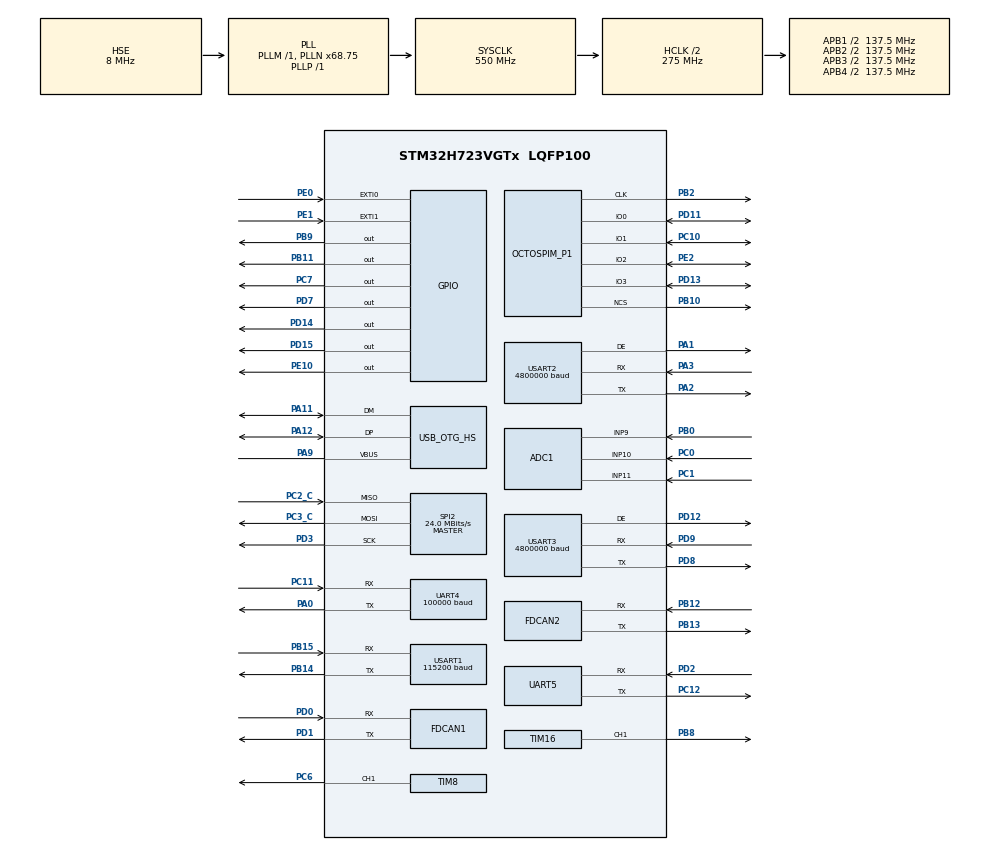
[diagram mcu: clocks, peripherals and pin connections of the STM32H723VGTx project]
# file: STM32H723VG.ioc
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ADC1.Channel-3\#ChannelRegularConversion=ADC_CHANNEL_9
ADC1.NbrOfConversionFlag=1
ADC1.OffsetNumber-3\#ChannelRegularConversion=ADC_OFFSET_NONE
ADC1.OffsetSignedSaturation-3\#ChannelRegularConversion=DISABLE
ADC1.Rank-3\#ChannelRegularConversion=1
ADC1.SamplingTime-3\#ChannelRegularConversion=ADC_SAMPLETIME_1CYCLE_5
ADC1.master=1
CORTEX_M7.AccessPermission-Cortex_Memory_Protection_Unit_Region0_Settings=MPU_REGION_FULL_ACCESS
CORTEX_M7.BaseAddress-Cortex_Memory_Protection_Unit_Region0_Settings=0x24000000
CORTEX_M7.CPU_DCache=Enabled
CORTEX_M7.CPU_ICache=Enabled
CORTEX_M7.Enable-Cortex_Memory_Protection_Unit_Region0_Settings=MPU_REGION_ENABLE
CORTEX_M7.IsBufferable-Cortex_Memory_Protection_Unit_Region0_Settings=MPU_ACCESS_BUFFERABLE
CORTEX_M7.IsCacheable-Cortex_Memory_Protection_Unit_Region0_Settings=MPU_ACCESS_CACHEABLE
CORTEX_M7.MPU_Control=MPU_PRIVILEGED_DEFAULT
CORTEX_M7.Size-Cortex_Memory_Protection_Unit_Region0_Settings=MPU_REGION_SIZE_256KB
CORTEX_M7.TypeExtField-Cortex_Memory_Protection_Unit_Region0_Settings=MPU_TEX_LEVEL1
CORTEX_M7.default_mode_Activation=0
Dma.Request0=USART1_RX
Dma.Request1=USART1_TX
Dma.Request2=USART2_RX
Dma.Request3=USART2_TX
Dma.Request4=UART4_RX
Dma.Request5=USART3_RX
Dma.Request6=USART3_TX
Dma.Request7=UART5_RX
Dma.Request8=UART5_TX
Dma.UART4_RX.4.Direction=DMA_PERIPH_TO_MEMORY
Dma.UART4_RX.4.EventEnable=DISABLE
Dma.UART4_RX.4.FIFOMode=DMA_FIFOMODE_DISABLE
Dma.UART4_RX.4.Instance=DMA1_Stream5
Dma.UART4_RX.4.MemDataAlignment=DMA_MDATAALIGN_BYTE
Dma.UART4_RX.4.MemInc=DMA_MINC_ENABLE
Dma.UART4_RX.4.Mode=DMA_NORMAL
Dma.UART4_RX.4.PeriphDataAlignment=DMA_PDATAALIGN_BYTE
Dma.UART4_RX.4.PeriphInc=DMA_PINC_DISABLE
Dma.UART4_RX.4.Polarity=HAL_DMAMUX_REQ_GEN_RISING
Dma.UART4_RX.4.Priority=DMA_PRIORITY_HIGH
Dma.UART4_RX.4.RequestNumber=1
Dma.UART4_RX.4.SignalID=NONE
Dma.UART4_RX.4.SyncEnable=DISABLE
Dma.UART4_RX.4.SyncPolarity=HAL_DMAMUX_SYNC_NO_EVENT
Dma.UART4_RX.4.SyncRequestNumber=1
Dma.UART4_RX.4.SyncSignalID=NONE
Dma.UART5_RX.7.Direction=DMA_PERIPH_TO_MEMORY
Dma.UART5_RX.7.EventEnable=DISABLE
Dma.UART5_RX.7.FIFOMode=DMA_FIFOMODE_DISABLE
Dma.UART5_RX.7.Instance=DMA2_Stream0
Dma.UART5_RX.7.MemDataAlignment=DMA_MDATAALIGN_BYTE
Dma.UART5_RX.7.MemInc=DMA_MINC_ENABLE
Dma.UART5_RX.7.Mode=DMA_NORMAL
Dma.UART5_RX.7.PeriphDataAlignment=DMA_PDATAALIGN_BYTE
Dma.UART5_RX.7.PeriphInc=DMA_PINC_DISABLE
Dma.UART5_RX.7.Polarity=HAL_DMAMUX_REQ_GEN_RISING
Dma.UART5_RX.7.Priority=DMA_PRIORITY_HIGH
Dma.UART5_RX.7.RequestNumber=1
Dma.UART5_RX.7.SignalID=NONE
Dma.UART5_RX.7.SyncEnable=DISABLE
Dma.UART5_RX.7.SyncPolarity=HAL_DMAMUX_SYNC_NO_EVENT
Dma.UART5_RX.7.SyncRequestNumber=1
Dma.UART5_RX.7.SyncSignalID=NONE
Dma.UART5_TX.8.Direction=DMA_MEMORY_TO_PERIPH
Dma.UART5_TX.8.EventEnable=DISABLE
Dma.UART5_TX.8.FIFOMode=DMA_FIFOMODE_DISABLE
Dma.UART5_TX.8.Instance=DMA2_Stream1
Dma.UART5_TX.8.MemDataAlignment=DMA_MDATAALIGN_BYTE
Dma.UART5_TX.8.MemInc=DMA_MINC_ENABLE
Dma.UART5_TX.8.Mode=DMA_NORMAL
Dma.UART5_TX.8.PeriphDataAlignment=DMA_PDATAALIGN_BYTE
Dma.UART5_TX.8.PeriphInc=DMA_PINC_DISABLE
Dma.UART5_TX.8.Polarity=HAL_DMAMUX_REQ_GEN_RISING
Dma.UART5_TX.8.Priority=DMA_PRIORITY_HIGH
Dma.UART5_TX.8.RequestNumber=1
Dma.UART5_TX.8.SignalID=NONE
Dma.UART5_TX.8.SyncEnable=DISABLE
Dma.UART5_TX.8.SyncPolarity=HAL_DMAMUX_SYNC_NO_EVENT
Dma.UART5_TX.8.SyncRequestNumber=1
Dma.UART5_TX.8.SyncSignalID=NONE
Dma.USART1_RX.0.Direction=DMA_PERIPH_TO_MEMORY
Dma.USART1_RX.0.EventEnable=DISABLE
Dma.USART1_RX.0.FIFOMode=DMA_FIFOMODE_DISABLE
Dma.USART1_RX.0.Instance=DMA1_Stream0
Dma.USART1_RX.0.MemDataAlignment=DMA_MDATAALIGN_BYTE
Dma.USART1_RX.0.MemInc=DMA_MINC_ENABLE
Dma.USART1_RX.0.Mode=DMA_NORMAL
Dma.USART1_RX.0.PeriphDataAlignment=DMA_PDATAALIGN_BYTE
Dma.USART1_RX.0.PeriphInc=DMA_PINC_DISABLE
Dma.USART1_RX.0.Polarity=HAL_DMAMUX_REQ_GEN_RISING
Dma.USART1_RX.0.Priority=DMA_PRIORITY_LOW
Dma.USART1_RX.0.RequestNumber=1
Dma.USART1_RX.0.SignalID=NONE
Dma.USART1_RX.0.SyncEnable=DISABLE
Dma.USART1_RX.0.SyncPolarity=HAL_DMAMUX_SYNC_NO_EVENT
Dma.USART1_RX.0.SyncRequestNumber=1
Dma.USART1_RX.0.SyncSignalID=NONE
Dma.USART1_TX.1.Direction=DMA_MEMORY_TO_PERIPH
Dma.USART1_TX.1.EventEnable=DISABLE
Dma.USART1_TX.1.FIFOMode=DMA_FIFOMODE_DISABLE
Dma.USART1_TX.1.Instance=DMA1_Stream2
Dma.USART1_TX.1.MemDataAlignment=DMA_MDATAALIGN_BYTE
Dma.USART1_TX.1.MemInc=DMA_MINC_ENABLE
Dma.USART1_TX.1.Mode=DMA_NORMAL
Dma.USART1_TX.1.PeriphDataAlignment=DMA_PDATAALIGN_BYTE
Dma.USART1_TX.1.PeriphInc=DMA_PINC_DISABLE
Dma.USART1_TX.1.Polarity=HAL_DMAMUX_REQ_GEN_RISING
Dma.USART1_TX.1.Priority=DMA_PRIORITY_LOW
Dma.USART1_TX.1.RequestNumber=1
Dma.USART1_TX.1.SignalID=NONE
Dma.USART1_TX.1.SyncEnable=DISABLE
Dma.USART1_TX.1.SyncPolarity=HAL_DMAMUX_SYNC_NO_EVENT
Dma.USART1_TX.1.SyncRequestNumber=1
Dma.USART1_TX.1.SyncSignalID=NONE
Dma.USART2_RX.2.Direction=DMA_PERIPH_TO_MEMORY
Dma.USART2_RX.2.EventEnable=DISABLE
Dma.USART2_RX.2.FIFOMode=DMA_FIFOMODE_DISABLE
Dma.USART2_RX.2.Instance=DMA1_Stream3
Dma.USART2_RX.2.MemDataAlignment=DMA_MDATAALIGN_BYTE
Dma.USART2_RX.2.MemInc=DMA_MINC_ENABLE
Dma.USART2_RX.2.Mode=DMA_NORMAL
Dma.USART2_RX.2.PeriphDataAlignment=DMA_PDATAALIGN_BYTE
Dma.USART2_RX.2.PeriphInc=DMA_PINC_DISABLE
Dma.USART2_RX.2.Polarity=HAL_DMAMUX_REQ_GEN_RISING
Dma.USART2_RX.2.Priority=DMA_PRIORITY_VERY_HIGH
Dma.USART2_RX.2.RequestNumber=1
Dma.USART2_RX.2.SignalID=NONE
Dma.USART2_RX.2.SyncEnable=DISABLE
Dma.USART2_RX.2.SyncPolarity=HAL_DMAMUX_SYNC_NO_EVENT
Dma.USART2_RX.2.SyncRequestNumber=1
Dma.USART2_RX.2.SyncSignalID=NONE
Dma.USART2_TX.3.Direction=DMA_MEMORY_TO_PERIPH
Dma.USART2_TX.3.EventEnable=DISABLE
Dma.USART2_TX.3.FIFOMode=DMA_FIFOMODE_DISABLE
Dma.USART2_TX.3.Instance=DMA1_Stream4
Dma.USART2_TX.3.MemDataAlignment=DMA_MDATAALIGN_BYTE
Dma.USART2_TX.3.MemInc=DMA_MINC_ENABLE
Dma.USART2_TX.3.Mode=DMA_NORMAL
Dma.USART2_TX.3.PeriphDataAlignment=DMA_PDATAALIGN_BYTE
Dma.USART2_TX.3.PeriphInc=DMA_PINC_DISABLE
Dma.USART2_TX.3.Polarity=HAL_DMAMUX_REQ_GEN_RISING
Dma.USART2_TX.3.Priority=DMA_PRIORITY_VERY_HIGH
Dma.USART2_TX.3.RequestNumber=1
Dma.USART2_TX.3.SignalID=NONE
Dma.USART2_TX.3.SyncEnable=DISABLE
Dma.USART2_TX.3.SyncPolarity=HAL_DMAMUX_SYNC_NO_EVENT
Dma.USART2_TX.3.SyncRequestNumber=1
Dma.USART2_TX.3.SyncSignalID=NONE
Dma.USART3_RX.5.Direction=DMA_PERIPH_TO_MEMORY
Dma.USART3_RX.5.EventEnable=DISABLE
Dma.USART3_RX.5.FIFOMode=DMA_FIFOMODE_DISABLE
Dma.USART3_RX.5.Instance=DMA1_Stream6
Dma.USART3_RX.5.MemDataAlignment=DMA_MDATAALIGN_BYTE
Dma.USART3_RX.5.MemInc=DMA_MINC_ENABLE
Dma.USART3_RX.5.Mode=DMA_NORMAL
Dma.USART3_RX.5.PeriphDataAlignment=DMA_PDATAALIGN_BYTE
Dma.USART3_RX.5.PeriphInc=DMA_PINC_DISABLE
Dma.USART3_RX.5.Polarity=HAL_DMAMUX_REQ_GEN_RISING
Dma.USART3_RX.5.Priority=DMA_PRIORITY_VERY_HIGH
Dma.USART3_RX.5.RequestNumber=1
Dma.USART3_RX.5.SignalID=NONE
Dma.USART3_RX.5.SyncEnable=DISABLE
Dma.USART3_RX.5.SyncPolarity=HAL_DMAMUX_SYNC_NO_EVENT
Dma.USART3_RX.5.SyncRequestNumber=1
Dma.USART3_RX.5.SyncSignalID=NONE
Dma.USART3_TX.6.Direction=DMA_MEMORY_TO_PERIPH
Dma.USART3_TX.6.EventEnable=DISABLE
Dma.USART3_TX.6.FIFOMode=DMA_FIFOMODE_DISABLE
Dma.USART3_TX.6.Instance=DMA1_Stream7
Dma.USART3_TX.6.MemDataAlignment=DMA_MDATAALIGN_BYTE
Dma.USART3_TX.6.MemInc=DMA_MINC_ENABLE
Dma.USART3_TX.6.Mode=DMA_NORMAL
Dma.USART3_TX.6.PeriphDataAlignment=DMA_PDATAALIGN_BYTE
Dma.USART3_TX.6.PeriphInc=DMA_PINC_DISABLE
Dma.USART3_TX.6.Polarity=HAL_DMAMUX_REQ_GEN_RISING
Dma.USART3_TX.6.Priority=DMA_PRIORITY_VERY_HIGH
Dma.USART3_TX.6.RequestNumber=1
Dma.USART3_TX.6.SignalID=NONE
Dma.USART3_TX.6.SyncEnable=DISABLE
Dma.USART3_TX.6.SyncPolarity=HAL_DMAMUX_SYNC_NO_EVENT
Dma.USART3_TX.6.SyncRequestNumber=1
Dma.USART3_TX.6.SyncSignalID=NONE
FDCAN1.CalculateBaudRateNominal=1000000
FDCAN1.CalculateTimeBitNominal=1000
FDCAN1.CalculateTimeQuantumNominal=71.42857142857143
FDCAN1.ClockCalibrationCCU=DISABLE
FDCAN1.NominalPrescaler=6
FDCAN1.NominalTimeSeg1=10
FDCAN1.NominalTimeSeg2=3
FDCAN1.RxFifo0ElmtsNbr=32
FDCAN1.TxFifoQueueElmtsNbr=16
FDCAN2.CalculateBaudRateNominal=1000000
FDCAN2.CalculateTimeBitNominal=1000
FDCAN2.CalculateTimeQuantumNominal=71.42857142857143
FDCAN2.NominalPrescaler=6
FDCAN2.NominalTimeSeg1=10
FDCAN2.NominalTimeSeg2=3
FDCAN2.RxFifo0ElmtsNbr=32
FDCAN2.TxFifoQueueElmtsNbr=16
FREERTOS.Tasks01=defaultTask,24,128,StartDefaultTask,Default,NULL,Dynamic,NULL,NULL;myTaskLED,24,128,StartTaskLED,As weak,NULL,Dynamic,NULL,NULL
FREERTOS.Timers01=testTimer,TestTimerCallback,osTimerPeriodic,As weak,NULL,Dynamic,NULL
FREERTOS.configENABLE_FPU=1
FREERTOS.configTOTAL_HEAP_SIZE=204800
FREERTOS.configUSE_IDLE_HOOK=1
FREERTOS.configUSE_TIMERS=1
Mcu.Family=STM32H7
Mcu.Name=STM32H723VGTx
Mcu.Package=LQFP100
NVIC.DMA1_Stream0_IRQn=true\:5\:0\:false\:false\:true\:true\:false\:true\:true
NVIC.DMA1_Stream2_IRQn=true\:5\:0\:false\:false\:true\:true\:false\:true\:true
NVIC.DMA1_Stream3_IRQn=true\:5\:0\:false\:false\:true\:true\:false\:true\:true
NVIC.DMA1_Stream4_IRQn=true\:5\:0\:false\:false\:true\:true\:false\:true\:true
NVIC.DMA1_Stream5_IRQn=true\:5\:0\:false\:false\:true\:true\:false\:true\:true
NVIC.DMA1_Stream6_IRQn=true\:5\:0\:false\:false\:true\:true\:false\:true\:true
NVIC.DMA1_Stream7_IRQn=true\:5\:0\:false\:false\:true\:true\:false\:true\:true
NVIC.DMA2_Stream0_IRQn=true\:5\:0\:false\:false\:true\:true\:false\:true\:true
NVIC.DMA2_Stream1_IRQn=true\:5\:0\:false\:false\:true\:true\:false\:true\:true
NVIC.FDCAN1_IT0_IRQn=true\:5\:0\:true\:false\:true\:true\:true\:true\:true
NVIC.FDCAN1_IT1_IRQn=true\:5\:0\:false\:false\:true\:true\:true\:true\:true
NVIC.FDCAN2_IT0_IRQn=true\:5\:0\:false\:false\:true\:true\:true\:true\:true
NVIC.FDCAN2_IT1_IRQn=true\:5\:0\:false\:false\:true\:true\:true\:true\:true
NVIC.OTG_HS_IRQn=true\:5\:0\:false\:false\:true\:true\:false\:true\:true
NVIC.PriorityGroup=NVIC_PRIORITYGROUP_4
NVIC.TIM1_BRK_IRQn=true\:5\:0\:false\:false\:true\:true\:true\:true\:true
NVIC.TIM1_CC_IRQn=true\:5\:0\:false\:false\:true\:true\:true\:true\:true
NVIC.TIM1_UP_IRQn=true\:5\:0\:false\:false\:true\:true\:true\:true\:true
NVIC.TIM2_IRQn=true\:5\:0\:false\:false\:true\:true\:true\:true\:true
NVIC.TIM3_IRQn=true\:5\:0\:false\:false\:true\:true\:true\:true\:true
NVIC.TIM6_DAC_IRQn=true\:15\:0\:false\:false\:true\:false\:false\:true\:true
NVIC.TimeBase=TIM6_DAC_IRQn
NVIC.TimeBaseIP=TIM6
NVIC.UART4_IRQn=true\:5\:0\:false\:false\:true\:true\:true\:true\:true
NVIC.UART5_IRQn=true\:5\:0\:false\:false\:true\:true\:true\:true\:true
NVIC.USART1_IRQn=true\:5\:0\:false\:false\:true\:true\:true\:true\:true
NVIC.USART2_IRQn=true\:5\:0\:false\:false\:true\:true\:true\:true\:true
NVIC.USART3_IRQn=true\:5\:0\:false\:false\:true\:true\:true\:true\:true
OCTOSPI1.ChipSelectBoundary=8
OCTOSPI1.ChipSelectHighTime=6
OCTOSPI1.ClockMode=HAL_OSPI_CLOCK_MODE_0
OCTOSPI1.ClockPrescaler=2
OCTOSPI1.FifoThreshold=24
OCTOSPI1.MemoryType=HAL_OSPI_MEMTYPE_MACRONIX
OCTOSPI1.SampleShifting=HAL_OSPI_SAMPLE_SHIFTING_HALFCYCLE
PA0.Mode=Asynchronous
PA0.Signal=UART4_TX
PA1.Mode=Hardware Flow Control (RS485)
PA1.Signal=USART2_DE
PA11.Mode=Device_Only_FS
PA11.Signal=USB_OTG_HS_DM
PA12.Mode=Device_Only_FS
PA12.Signal=USB_OTG_HS_DP
PA13(JTMS/SWDIO).Mode=Serial_Wire
PA13(JTMS/SWDIO).Signal=DEBUG_JTMS-SWDIO
PA14(JTCK/SWCLK).Mode=Serial_Wire
PA14(JTCK/SWCLK).Signal=DEBUG_JTCK-SWCLK
PA2.Mode=Asynchronous
PA2.Signal=USART2_TX
PA3.Mode=Asynchronous
PA3.Signal=USART2_RX
PA9.Mode=Activate_VBUS_FS
PA9.Signal=USB_OTG_HS_VBUS
PB0.Signal=ADCx_INP9
PB10.Mode=OCTOSPI1_Port1_NCS
PB10.Signal=OCTOSPIM_P1_NCS
PB11.Signal=GPIO_Output
PB12.Mode=FDCAN_Activate
PB12.Signal=FDCAN2_RX
PB13.Mode=FDCAN_Activate
PB13.Signal=FDCAN2_TX
PB14.GPIO_PuPd=GPIO_NOPULL
PB14.GPIO_Speed=GPIO_SPEED_FREQ_VERY_HIGH
PB14.Mode=Asynchronous
PB14.Signal=USART1_TX
PB15.GPIO_PuPd=GPIO_NOPULL
PB15.GPIO_Speed=GPIO_SPEED_FREQ_VERY_HIGH
PB15.Mode=Asynchronous
PB15.Signal=USART1_RX
PB2.Mode=O1_P1_CLK
PB2.Signal=OCTOSPIM_P1_CLK
PB8.Signal=S_TIM16_CH1
PB9.Signal=GPIO_Output
PC0.Signal=ADCx_INP10
PC1.Signal=ADCx_INP11
PC10.Mode=OCTOSPI1_IOL_Port1L
PC10.Signal=OCTOSPIM_P1_IO1
PC11.Mode=Asynchronous
PC11.Signal=UART4_RX
PC12.Mode=Asynchronous
PC12.Signal=UART5_TX
PC2_C.Mode=Full_Duplex_Master
PC2_C.Signal=SPI2_MISO
PC3_C.Mode=Full_Duplex_Master
PC3_C.Signal=SPI2_MOSI
PC6.Signal=S_TIM8_CH1
PC7.PinState=GPIO_PIN_SET
PC7.Signal=GPIO_Output
PD0.Mode=FDCAN_Activate
PD0.Signal=FDCAN1_RX
PD1.Mode=FDCAN_Activate
PD1.Signal=FDCAN1_TX
PD11.Mode=OCTOSPI1_IOL_Port1L
PD11.Signal=OCTOSPIM_P1_IO0
PD12.Mode=Hardware Flow Control (RS485)
PD12.Signal=USART3_DE
PD13.Mode=OCTOSPI1_IOL_Port1L
PD13.Signal=OCTOSPIM_P1_IO3
PD14.PinState=GPIO_PIN_SET
PD14.Signal=GPIO_Output
PD15.PinState=GPIO_PIN_SET
PD15.Signal=GPIO_Output
PD2.Mode=Asynchronous
PD2.Signal=UART5_RX
PD3.Mode=Full_Duplex_Master
PD3.Signal=SPI2_SCK
PD7.Signal=GPIO_Output
PD8.Mode=Asynchronous
PD8.Signal=USART3_TX
PD9.Mode=Asynchronous
PD9.Signal=USART3_RX
PE0.Signal=GPXTI0
PE1.Signal=GPXTI1
PE10.Signal=GPIO_Output
PE2.Mode=OCTOSPI1_IOL_Port1L
PE2.Signal=OCTOSPIM_P1_IO2
PH0-OSC_IN.Mode=HSE-External-Clock-Source
PH0-OSC_IN.Signal=RCC_OSC_IN
ProjectManager.HeapSize=0x19000
ProjectManager.StackSize=0x19000
ProjectManager.TargetToolchain=MDK-ARM V5.32
RCC.ADCFreq_Value=6400000
RCC.APB1Freq_Value=137500000
RCC.APB2Freq_Value=137500000
RCC.APB3Freq_Value=137500000
RCC.APB4Freq_Value=137500000
RCC.CortexFreq_Value=550000000
RCC.D1PPRE=RCC_APB3_DIV2
RCC.D2PPRE1=RCC_APB1_DIV2
RCC.D2PPRE2=RCC_APB2_DIV2
RCC.D3PPRE=RCC_APB4_DIV2
RCC.DIVM1=1
RCC.DIVM2=1
RCC.DIVM3=1
RCC.DIVN1=68
RCC.DIVN2=84
RCC.DIVN3=24
RCC.DIVP1=1
RCC.DIVP2=105
RCC.DIVQ1=5
RCC.DIVQ2=8
RCC.DIVQ3=4
RCC.DIVR2=8
RCC.FDCANCLockSelection=RCC_FDCANCLKSOURCE_PLL2
RCC.HCLKFreq_Value=275000000
RCC.HPRE=RCC_HCLK_DIV2
RCC.HSE_VALUE=8000000
RCC.PLL2FRACN=0
RCC.PLL3FRACN=0
RCC.PLLFRACN=6144
RCC.PLLSourceVirtual=RCC_PLLSOURCE_HSE
RCC.SPI123CLockSelection=RCC_SPI123CLKSOURCE_PLL3
RCC.SYSCLKFreq_VALUE=550000000
RCC.SYSCLKSource=RCC_SYSCLKSOURCE_PLLCLK
RCC.USBCLockSelection=RCC_USBCLKSOURCE_PLL3
RCC.USBFreq_Value=48000000
SH.ADCx_INP10.0=ADC1_INP10,IN10-Single-Ended
SH.ADCx_INP11.0=ADC1_INP11,IN11-Single-Ended
SH.ADCx_INP9.0=ADC1_INP9,IN9-Single-Ended
SH.S_TIM16_CH1.0=TIM16_CH1,PWM Generation1 CH1
SH.S_TIM8_CH1.0=TIM8_CH1,PWM Generation1 CH1
SPI2.BaudRatePrescaler=SPI_BAUDRATEPRESCALER_4
SPI2.CalculateBaudRate=24.0 MBits/s
SPI2.DataSize=SPI_DATASIZE_8BIT
SPI2.Direction=SPI_DIRECTION_2LINES
SPI2.MasterKeepIOState=SPI_MASTER_KEEP_IO_STATE_DISABLE
SPI2.Mode=SPI_MODE_MASTER
SPI2.NSSPMode=SPI_NSS_PULSE_DISABLE
SPI2.VirtualType=VM_MASTER
TIM1.Period=999
TIM1.Prescaler=274
TIM15.AutoReloadPreload=TIM_AUTORELOAD_PRELOAD_ENABLE
TIM15.Period=10000-1
TIM15.Prescaler=1355-1
TIM15.TIM_MasterOutputTrigger=TIM_TRGO_UPDATE
TIM16.AutoReloadPreload=TIM_AUTORELOAD_PRELOAD_ENABLE
TIM16.Channel=TIM_CHANNEL_1
TIM16.Period=100-1
TIM16.Prescaler=100-1
TIM16.Pulse=10
TIM2.AutoReloadPreload=TIM_AUTORELOAD_PRELOAD_ENABLE
TIM2.Period=99999
TIM2.Prescaler=2749
TIM3.AutoReloadPreload=TIM_AUTORELOAD_PRELOAD_ENABLE
TIM3.Period=499
TIM3.Prescaler=274
TIM8.AutoReloadPreload=TIM_AUTORELOAD_PRELOAD_ENABLE
TIM8.Channel-PWM\ Generation1\ CH1=TIM_CHANNEL_1
TIM8.Period=1000-1
TIM8.Prescaler=275-1
TIM8.Pulse-PWM\ Generation1\ CH1=800-1
UART4.BaudRate=100000
UART4.DMADisableonRxErrorParam=UART_ADVFEATURE_DMA_DISABLEONRXERROR
UART4.Mode=MODE_RX
UART4.OverSampling=UART_OVERSAMPLING_8
UART4.OverrunDisableParam=UART_ADVFEATURE_OVERRUN_DISABLE
UART4.Parity=PARITY_EVEN
UART4.RXFIFOThreshold=RXFIFO_THRESHOLD_FULL
UART4.RxPinLevelInvertParam=UART_ADVFEATURE_RXINV_ENABLE
UART4.WordLength=WORDLENGTH_9B
UART5.DMADisableonRxErrorParam=UART_ADVFEATURE_DMA_DISABLEONRXERROR
UART5.OverSampling=UART_OVERSAMPLING_8
UART5.OverrunDisableParam=UART_ADVFEATURE_OVERRUN_DISABLE
USART1.BaudRate=115200
USART1.OverrunDisableParam=ADVFEATURE_OVERRUN_DISABLE
USART1.VirtualMode-Asynchronous=VM_ASYNC
USART2.BaudRate=4800000
USART2.DMADisableonRxErrorParam=ADVFEATURE_DMA_DISABLEONRXERROR
USART2.OverSampling=UART_OVERSAMPLING_8
USART2.OverrunDisableParam=ADVFEATURE_OVERRUN_DISABLE
USART2.VirtualMode-Asynchronous=VM_ASYNC
USART2.VirtualMode-Hardware\ Flow\ Control\ (RS485)=VM_ASYNC
USART3.BaudRate=4800000
USART3.DMADisableonRxErrorParam=ADVFEATURE_DMA_DISABLEONRXERROR
USART3.OverSampling=UART_OVERSAMPLING_8
USART3.OverrunDisableParam=ADVFEATURE_OVERRUN_DISABLE
USART3.VirtualMode-Asynchronous=VM_ASYNC
USART3.VirtualMode-Hardware\ Flow\ Control\ (RS485)=VM_ASYNC
USB_DEVICE.CLASS_NAME_HS=CDC
USB_DEVICE.MANUFACTURER_STRING=yeeeep
USB_DEVICE.PRODUCT_STRING_CDC_HS=yephaha
USB_DEVICE.VirtualMode=Cdc
USB_DEVICE.VirtualModeHS=Cdc_HS
USB_OTG_HS.VirtualMode-Device_Only_FS=Device_Only_FS
VP_FREERTOS_VS_CMSIS_V2.Mode=CMSIS_V2
VP_OCTOSPI1_VS_quad.Mode=quad_mode
VP_SYS_VS_tim6.Mode=TIM6
VP_TIM15_VS_ClockSourceINT.Mode=Internal
VP_TIM16_VS_ClockSourceINT.Mode=Enable_Timer
VP_TIM1_VS_ClockSourceINT.Mode=Internal
VP_TIM2_VS_ClockSourceINT.Mode=Internal
VP_TIM3_VS_ClockSourceINT.Mode=Internal
VP_TIM8_VS_ClockSourceINT.Mode=Internal
VP_USB_DEVICE_VS_USB_DEVICE_CDC_HS.Mode=CDC_HS
VP_VREFBUF_V_VREFBUF.Mode=ExternalMode
board=custom

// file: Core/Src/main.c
/* USER CODE BEGIN Header */
/**
  ******************************************************************************
  * @file           : main.c
  * @brief          : Main program body
  ******************************************************************************
  * @attention
  *
  * Copyright (c) 2023 STMicroelectronics.
  * All rights reserved.
  *
  * This software is licensed under terms that can be found in the LICENSE file
  * in the root directory of this software component.
  * If no LICENSE file comes with this software, it is provided AS-IS.
  *
  ******************************************************************************
  */
/* USER CODE END Header */
#include "main.h"
#include "cmsis_os.h"
#include "adc.h"
#include "dma.h"
#include "fdcan.h"
#include "octospi.h"
#include "spi.h"
#include "tim.h"
#include "usart.h"
#include "usb_device.h"
#include "gpio.h"

/* USER CODE BEGIN Includes */
#include "usbd_cdc_if.h"
#include "stdio.h"
#include "YC_ICM42688.h"
#include "feet_motor.h"
#include "joint_motor.h"
#include "MahonyAHRS.h"
#include "RefereeBehaviour.h"
#include "RefereeThread.h"
/* USER CODE END Includes */

/* USER CODE BEGIN PV */
   //接收数据的数组
volatile uint8_t rx_len = 0; //接收数据的长度
volatile uint8_t recv_end_flag = 0; //接收结束标志位

volatile uint16_t ADC_DATA[20];

double USBCC1_voltage = 0,USBCC2_voltage = 0,BAT_voltage=0;

unsigned char buff_usb[100] = {"USB_CDC\r\n"};

/* USER CODE END PV */

void SystemClock_Config(void);
void PeriphCommonClock_Config(void);
static void MPU_Initialize(void);
static void MPU_Config(void);
void MX_FREERTOS_Init(void);
/* USER CODE BEGIN PFP */

extern DMA_HandleTypeDef hdma_adc1;

/* USER CODE END PFP */

int main(void)
{

  /* Enable I-Cache---------------------------------------------------------*/
  SCB_EnableICache();

  /* Enable D-Cache---------------------------------------------------------*/
  SCB_EnableDCache();

  /* MCU Configuration--------------------------------------------------------*/

  /* Reset of all peripherals, Initializes the Flash interface and the Systick. */
  HAL_Init();

  /* MPU Configuration--------------------------------------------------------*/
  MPU_Config();

  /* USER CODE BEGIN Init */
	SCB->CACR|=1<<2;
  /* USER CODE END Init */

  /* Configure the system clock */
  SystemClock_Config();

/* Configure the peripherals common clocks */
  PeriphCommonClock_Config();

  /* Initialize all configured peripherals */
  MX_GPIO_Init();
  MX_DMA_Init();
  MX_ADC1_Init();
  MX_TIM15_Init();
  MX_FDCAN1_Init();
  MX_SPI2_Init();
  MX_TIM8_Init();
  MX_OCTOSPI1_Init();
  MX_TIM16_Init();
  MX_USART1_UART_Init();
  MX_USART2_UART_Init();
  MX_USART3_UART_Init();
  MX_FDCAN2_Init();
  MX_UART4_Init();
  MX_TIM1_Init();
  MX_TIM2_Init();
  MX_TIM3_Init();
  MX_UART5_Init();
  /* USER CODE BEGIN 2 */

//	HAL_TIM_PWM_Start(&htim8,TIM_CHANNEL_1);
//	HAL_Delay(30);
//	HAL_TIM_PWM_Stop(&htim8,TIM_CHANNEL_1);
//	HAL_Delay(150);
//	HAL_TIM_PWM_Start(&htim8,TIM_CHANNEL_1);
//	HAL_Delay(200);
//	HAL_TIM_PWM_Stop(&htim8,TIM_CHANNEL_1);
	HAL_TIM_Base_Start_IT(&htim1);
	HAL_TIM_Base_Start_IT(&htim2);
	HAL_TIM_Base_Start_IT(&htim3);
	IMU42688_Init();

	HAL_Delay(1000);
	HAL_GPIO_WritePin(GPIOE, GPIO_PIN_10, GPIO_PIN_SET);

	FDCAN_Config();

	HAL_GPIO_WritePin(GPIOB, GPIO_PIN_11, GPIO_PIN_SET);

	QueueInit(&SendBuffer[0]);
	QueueInit(&SendBuffer[1]);

	__HAL_UART_ENABLE_IT(&huart4, UART_IT_IDLE);  //开启空闲中断
  HAL_UART_Receive_DMA(&huart4, rx_buffer,50);//开启串口DMA接收
	__HAL_UART_ENABLE_IT(&huart2, UART_IT_IDLE);  //开启空闲中断
  HAL_UART_Receive_DMA(&huart2,Usart2Type.RX_pData,RECEIVE_SIZE);//开启串口DMA接收
	__HAL_UART_ENABLE_IT(&huart3, UART_IT_IDLE);  //开启空闲中断
  HAL_UART_Receive_DMA(&huart3,Usart3Type.RX_pData,RECEIVE_SIZE);//开启串口DMA接收
	__HAL_UART_ENABLE_IT(&huart5, UART_IT_IDLE);  //开启空闲中断
	HAL_UART_Receive_DMA(&huart5,usart5_buf1,USART_RX_BUF_LENGHT);//开启串口DMA接收

	//adc Calibration
	HAL_Delay(10);
	if(HAL_ADCEx_Calibration_Start(&hadc1, ADC_CALIB_OFFSET_LINEARITY, ADC_SINGLE_ENDED) != HAL_OK)
	{
		Error_Handler();
	}
	HAL_Delay(10);

//	HAL_ADC_Start_DMA(&hadc1,(uint32_t *)ADC_DATA,12);
	//disable dma half trasfer interrupt
//	__HAL_DMA_DISABLE_IT(&hdma_adc1, DMA_IT_HT);
//
//	HAL_TIM_Base_Start(&htim15);

	HAL_TIM_PWM_Start(&htim16,TIM_CHANNEL_1);

	joint_motor_set_mode(0);
  /* USER CODE END 2 */

  /* Init scheduler */
  osKernelInitialize();  /* Call init function for freertos objects (in freertos.c) */
  MX_FREERTOS_Init();

  /* Start scheduler */
  osKernelStart();

  /* We should never get here as control is now taken by the scheduler */
  /* Infinite loop */
  /* USER CODE BEGIN WHILE */
  while (1)
  {
//		HAL_GPIO_WritePin(GPIOD, GPIO_PIN_15, GPIO_PIN_SET);
//		HAL_Delay(50);
//		HAL_GPIO_WritePin(GPIOD, GPIO_PIN_15, GPIO_PIN_RESET);
//		HAL_Delay(50);

//		sprintf((char *)buff_usb,"USBCC1_VOLTAGE:%6.4f \r\n",USBCC1_voltage);
//		CDC_Transmit_HS(buff_usb,sizeof(buff_usb));
//		HAL_Delay(10);
//		sprintf((char *)buff_usb,"USBCC2_VOLTAGE:%6.4f \r\n",USBCC2_voltage);
//		CDC_Transmit_HS(buff_usb,sizeof(buff_usb));
//		HAL_Delay(10);
//		sprintf((char *)buff_usb,"BAT_VOLTAGE:%6.4f \r\n\r\n",BAT_voltage);
//		CDC_Transmit_HS(buff_usb,sizeof(buff_usb));
    /* USER CODE END WHILE */

  }
}

void SystemClock_Config(void)
{
  RCC_OscInitTypeDef RCC_OscInitStruct = {0};
  RCC_ClkInitTypeDef RCC_ClkInitStruct = {0};

  /** Supply configuration update enable
  */
  HAL_PWREx_ConfigSupply(PWR_LDO_SUPPLY);

  /** Configure the main internal regulator output voltage
  */
  __HAL_PWR_VOLTAGESCALING_CONFIG(PWR_REGULATOR_VOLTAGE_SCALE0);

  while(!__HAL_PWR_GET_FLAG(PWR_FLAG_VOSRDY)) {}

  /** Initializes the RCC Oscillators according to the specified parameters
  * in the RCC_OscInitTypeDef structure.
  */
  RCC_OscInitStruct.OscillatorType = RCC_OSCILLATORTYPE_HSE;
  RCC_OscInitStruct.HSEState = RCC_HSE_BYPASS;
  RCC_OscInitStruct.PLL.PLLState = RCC_PLL_ON;
  RCC_OscInitStruct.PLL.PLLSource = RCC_PLLSOURCE_HSE;
  RCC_OscInitStruct.PLL.PLLM = 1;
  RCC_OscInitStruct.PLL.PLLN = 68;
  RCC_OscInitStruct.PLL.PLLP = 1;
  RCC_OscInitStruct.PLL.PLLQ = 5;
  RCC_OscInitStruct.PLL.PLLR = 2;
  RCC_OscInitStruct.PLL.PLLRGE = RCC_PLL1VCIRANGE_3;
  RCC_OscInitStruct.PLL.PLLVCOSEL = RCC_PLL1VCOWIDE;
  RCC_OscInitStruct.PLL.PLLFRACN = 6144;
  if (HAL_RCC_OscConfig(&RCC_OscInitStruct) != HAL_OK)
  {
    Error_Handler();
  }

  /** Initializes the CPU, AHB and APB buses clocks
  */
  RCC_ClkInitStruct.ClockType = RCC_CLOCKTYPE_HCLK|RCC_CLOCKTYPE_SYSCLK
                              |RCC_CLOCKTYPE_PCLK1|RCC_CLOCKTYPE_PCLK2
                              |RCC_CLOCKTYPE_D3PCLK1|RCC_CLOCKTYPE_D1PCLK1;
  RCC_ClkInitStruct.SYSCLKSource = RCC_SYSCLKSOURCE_PLLCLK;
  RCC_ClkInitStruct.SYSCLKDivider = RCC_SYSCLK_DIV1;
  RCC_ClkInitStruct.AHBCLKDivider = RCC_HCLK_DIV2;
  RCC_ClkInitStruct.APB3CLKDivider = RCC_APB3_DIV2;
  RCC_ClkInitStruct.APB1CLKDivider = RCC_APB1_DIV2;
  RCC_ClkInitStruct.APB2CLKDivider = RCC_APB2_DIV2;
  RCC_ClkInitStruct.APB4CLKDivider = RCC_APB4_DIV2;

  if (HAL_RCC_ClockConfig(&RCC_ClkInitStruct, FLASH_LATENCY_3) != HAL_OK)
  {
    Error_Handler();
  }
}

void PeriphCommonClock_Config(void)
{
  RCC_PeriphCLKInitTypeDef PeriphClkInitStruct = {0};

  /** Initializes the peripherals clock
  */
  PeriphClkInitStruct.PeriphClockSelection = RCC_PERIPHCLK_USB|RCC_PERIPHCLK_ADC
                              |RCC_PERIPHCLK_SPI2|RCC_PERIPHCLK_FDCAN;
  PeriphClkInitStruct.PLL2.PLL2M = 1;
  PeriphClkInitStruct.PLL2.PLL2N = 84;
  PeriphClkInitStruct.PLL2.PLL2P = 105;
  PeriphClkInitStruct.PLL2.PLL2Q = 8;
  PeriphClkInitStruct.PLL2.PLL2R = 8;
  PeriphClkInitStruct.PLL2.PLL2RGE = RCC_PLL2VCIRANGE_3;
  PeriphClkInitStruct.PLL2.PLL2VCOSEL = RCC_PLL2VCOWIDE;
  PeriphClkInitStruct.PLL2.PLL2FRACN = 0;
  PeriphClkInitStruct.PLL3.PLL3M = 1;
  PeriphClkInitStruct.PLL3.PLL3N = 24;
  PeriphClkInitStruct.PLL3.PLL3P = 2;
  PeriphClkInitStruct.PLL3.PLL3Q = 4;
  PeriphClkInitStruct.PLL3.PLL3R = 2;
  PeriphClkInitStruct.PLL3.PLL3RGE = RCC_PLL3VCIRANGE_3;
  PeriphClkInitStruct.PLL3.PLL3VCOSEL = RCC_PLL3VCOWIDE;
  PeriphClkInitStruct.PLL3.PLL3FRACN = 0;
  PeriphClkInitStruct.Spi123ClockSelection = RCC_SPI123CLKSOURCE_PLL3;
  PeriphClkInitStruct.FdcanClockSelection = RCC_FDCANCLKSOURCE_PLL2;
  PeriphClkInitStruct.UsbClockSelection = RCC_USBCLKSOURCE_PLL3;
  PeriphClkInitStruct.AdcClockSelection = RCC_ADCCLKSOURCE_PLL2;
  if (HAL_RCCEx_PeriphCLKConfig(&PeriphClkInitStruct) != HAL_OK)
  {
    Error_Handler();
  }
}

/* USER CODE BEGIN 4 */

/* USER CODE BEGIN Header_StartTaskLED */
/**
* @brief Function implementing the myTaskLED thread.
* @param argument: Not used
* @retval None
*/
/* USER CODE END Header_StartTaskLED */
void StartTaskLED(void *argument)
{
  /* USER CODE BEGIN StartTaskLED */

	HAL_GPIO_WritePin(GPIOD, GPIO_PIN_14,GPIO_PIN_RESET);
	HAL_GPIO_WritePin(GPIOD, GPIO_PIN_15,GPIO_PIN_SET);

  /* Infinite loop */
  for(;;)
  {
    HAL_GPIO_TogglePin(GPIOD, GPIO_PIN_14);
		HAL_GPIO_TogglePin(GPIOD, GPIO_PIN_15);

		//HAL_UART_Transmit_DMA(&huart1,c,2);
    osDelay(1);

  }
  /* USER CODE END StartTaskLED */
}

/* USER CODE BEGIN Header_StartTaskUSB */
/**
* @brief Function implementing the myTaskUSB thread.
* @param argument: Not used
* @retval None
*/
/* USER CODE END Header_StartTaskUSB */
//void StartTaskUSB(void *argument)
//{
//  /* USER CODE BEGIN StartTaskUSB */
//  /* Infinite loop */
//  for(;;)
//  {
//		sprintf((char *)buff_usb,"USBCC1_VOLTAGE:%6.4f \r\n",USBCC1_voltage);
//		CDC_Transmit_HS(buff_usb,sizeof(buff_usb));
//		HAL_Delay(10);
//		sprintf((char *)buff_usb,"USBCC2_VOLTAGE:%6.4f \r\n",USBCC2_voltage);
//		CDC_Transmit_HS(buff_usb,sizeof(buff_usb));
//		HAL_Delay(10);
//		sprintf((char *)buff_usb,"BAT_VOLTAGE:%6.4f \r\n\r\n",BAT_voltage);
//		CDC_Transmit_HS(buff_usb,sizeof(buff_usb));
//
//
////		HAL_UART_Transmit(&huart3,(uint8_t *)"hello",sizeof("hello"),0xffff);
//
//    osDelay(500);
//  }
//  /* USER CODE END StartTaskUSB */
//}

/* TestTimerCallback function */
void TestTimerCallback(void *argument)
{
  /* USER CODE BEGIN TestTimerCallback */

  /* USER CODE END TestTimerCallback */
}

/* USER CODE END 4 */

/* MPU Configuration */

void MPU_Config(void)
{
  MPU_Region_InitTypeDef MPU_InitStruct = {0};

  /* Disables the MPU */
  HAL_MPU_Disable();

  /** Initializes and configures the Region and the memory to be protected
  */
  MPU_InitStruct.Enable = MPU_REGION_ENABLE;
  MPU_InitStruct.Number = MPU_REGION_NUMBER0;
  MPU_InitStruct.BaseAddress = 0x24000000;
  MPU_InitStruct.Size = MPU_REGION_SIZE_256KB;
  MPU_InitStruct.SubRegionDisable = 0x0;
  MPU_InitStruct.TypeExtField = MPU_TEX_LEVEL1;
  MPU_InitStruct.AccessPermission = MPU_REGION_FULL_ACCESS;
  MPU_InitStruct.DisableExec = MPU_INSTRUCTION_ACCESS_ENABLE;
  MPU_InitStruct.IsShareable = MPU_ACCESS_NOT_SHAREABLE;
  MPU_InitStruct.IsCacheable = MPU_ACCESS_CACHEABLE;
  MPU_InitStruct.IsBufferable = MPU_ACCESS_BUFFERABLE;

  HAL_MPU_ConfigRegion(&MPU_InitStruct);
  /* Enables the MPU */
  HAL_MPU_Enable(MPU_PRIVILEGED_DEFAULT);

}

void HAL_TIM_PeriodElapsedCallback(TIM_HandleTypeDef *htim)
{
  if (htim->Instance == TIM6) {
    HAL_IncTick();
  }
}

void Error_Handler(void)
{
  __disable_irq();
  while (1)
  {
  }
}

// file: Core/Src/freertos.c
/* USER CODE BEGIN Header */
/**
  ******************************************************************************
  * File Name          : freertos.c
  * Description        : Code for freertos applications
  ******************************************************************************
  * @attention
  *
  * Copyright (c) 2023 STMicroelectronics.
  * All rights reserved.
  *
  * This software is licensed under terms that can be found in the LICENSE file
  * in the root directory of this software component.
  * If no LICENSE file comes with this software, it is provided AS-IS.
  *
  ******************************************************************************
  */
/* USER CODE END Header */

#include "FreeRTOS.h"
#include "task.h"
#include "main.h"
#include "cmsis_os.h"

/* USER CODE BEGIN Includes */
#include "AttitudeThread.h"
#include "CalculateThread.h"
#include "RefereeThread.h"
#include "CanSendThread.h"
#include "UIThread.h"
/* USER CODE END Includes */

/* Definitions for defaultTask */
osThreadId_t defaultTaskHandle;
const osThreadAttr_t defaultTask_attributes = {
  .name = "defaultTask",
  .stack_size = 128 * 4,
  .priority = (osPriority_t) osPriorityNormal,
};
/* Definitions for myTaskLED */
osThreadId_t myTaskLEDHandle;
const osThreadAttr_t myTaskLED_attributes = {
  .name = "myTaskLED",
  .stack_size = 128 * 4,
  .priority = (osPriority_t) osPriorityNormal,
};
/* Definitions for testTimer */
osTimerId_t testTimerHandle;
const osTimerAttr_t testTimer_attributes = {
  .name = "testTimer"
};

/* USER CODE BEGIN FunctionPrototypes */
osTimerId_t CalculateThreadHandle;
const osThreadAttr_t CalculateThread_attributes = {
  .name = "CalculateThread",
  .stack_size = 128 * 32,
  .priority = (osPriority_t) osPriorityHigh,
};

osTimerId_t AttitudeThreadHandle;
const osThreadAttr_t AttitudeThread_attributes = {
  .name = "AttitudeThread",
  .stack_size = 128 * 24,
  .priority = (osPriority_t) osPriorityRealtime,
};

osTimerId_t UISendThreadHandle;
const osThreadAttr_t UISendThread_attributes = {
  .name = "UISendThread",
  .stack_size = 128 * 48,
  .priority = (osPriority_t) osPriorityNormal,
};

osTimerId_t RefereeThreadHandle;
const osThreadAttr_t RefereeThread_attributes = {
  .name = "RefereeThread",
  .stack_size = 128 * 24,
  .priority = (osPriority_t) osPriorityNormal,
};

osTimerId_t CanSendThreadHandle;
const osThreadAttr_t CanSendThread_attributes = {
  .name = "CanSendThread",
  .stack_size = 128 * 24,
  .priority = (osPriority_t) osPriorityRealtime,
};

osTimerId_t UIGenerateThreadHandle;
const osThreadAttr_t UIGenerateThread_attributes = {
  .name = "UIGenerateThread",
  .stack_size = 128 * 36,
  .priority = (osPriority_t) osPriorityNormal,
};

/* USER CODE END FunctionPrototypes */

void StartDefaultTask(void *argument);
void StartTaskLED(void *argument);
void TestTimerCallback(void *argument);

extern void MX_USB_DEVICE_Init(void);
void MX_FREERTOS_Init(void); /* (MISRA C 2004 rule 8.1) */

/* Hook prototypes */
void vApplicationIdleHook(void);

/* USER CODE BEGIN 2 */
void vApplicationIdleHook( void )
{
   /* vApplicationIdleHook() will only be called if configUSE_IDLE_HOOK is set
   to 1 in FreeRTOSConfig.h. It will be called on each iteration of the idle
   task. It is essential that code added to this hook function never attempts
   to block in any way (for example, call xQueueReceive() with a block time
   specified, or call vTaskDelay()). If the application makes use of the
   vTaskDelete() API function (as this demo application does) then it is also
   important that vApplicationIdleHook() is permitted to return to its calling
   function, because it is the responsibility of the idle task to clean up
   memory allocated by the kernel to any task that has since been deleted. */
}
/* USER CODE END 2 */

void MX_FREERTOS_Init(void) {

  /* Create the timer(s) */
  /* creation of testTimer */
  testTimerHandle = osTimerNew(TestTimerCallback, osTimerPeriodic, NULL, &testTimer_attributes);

  /* Create the thread(s) */
  /* creation of defaultTask */
  defaultTaskHandle = osThreadNew(StartDefaultTask, NULL, &defaultTask_attributes);

  /* creation of myTaskLED */
  myTaskLEDHandle = osThreadNew(StartTaskLED, NULL, &myTaskLED_attributes);

  /* USER CODE BEGIN RTOS_THREADS */
  /* add threads, ... */

	/* creation of CalculateThread */
  CalculateThreadHandle = osThreadNew(CalculateThread, NULL, &CalculateThread_attributes);

  /* creation of AttitudeThread */
  AttitudeThreadHandle = osThreadNew(AttitudeThread, NULL, &AttitudeThread_attributes);

	/* creation of RefereeThread */
  RefereeThreadHandle = osThreadNew(RefereeThread, NULL, &RefereeThread_attributes);

  /* creation of CanSendThread */
  CanSendThreadHandle = osThreadNew(CanSendThread, NULL, &AttitudeThread_attributes);

	/* creation of UISendThread */
  UISendThreadHandle = osThreadNew(UISendThread, NULL, &UISendThread_attributes);

	/* creation of UIGenerateThread */
  UIGenerateThreadHandle = osThreadNew(UIGenerateThread, NULL, &UIGenerateThread_attributes);
  /* USER CODE END RTOS_THREADS */

}

void StartDefaultTask(void *argument)
{
  /* init code for USB_DEVICE */
  MX_USB_DEVICE_Init();
  /* USER CODE BEGIN StartDefaultTask */

	osTimerStart(testTimerHandle,1000);

  /* Infinite loop */
  for(;;)
  {
    osDelay(1);
  }
  /* USER CODE END StartDefaultTask */
}

__weak void StartTaskLED(void *argument)
{
  for(;;)
  {
    osDelay(1);
  }
}

/* TestTimerCallback function */
__weak void TestTimerCallback(void *argument)
{
}
